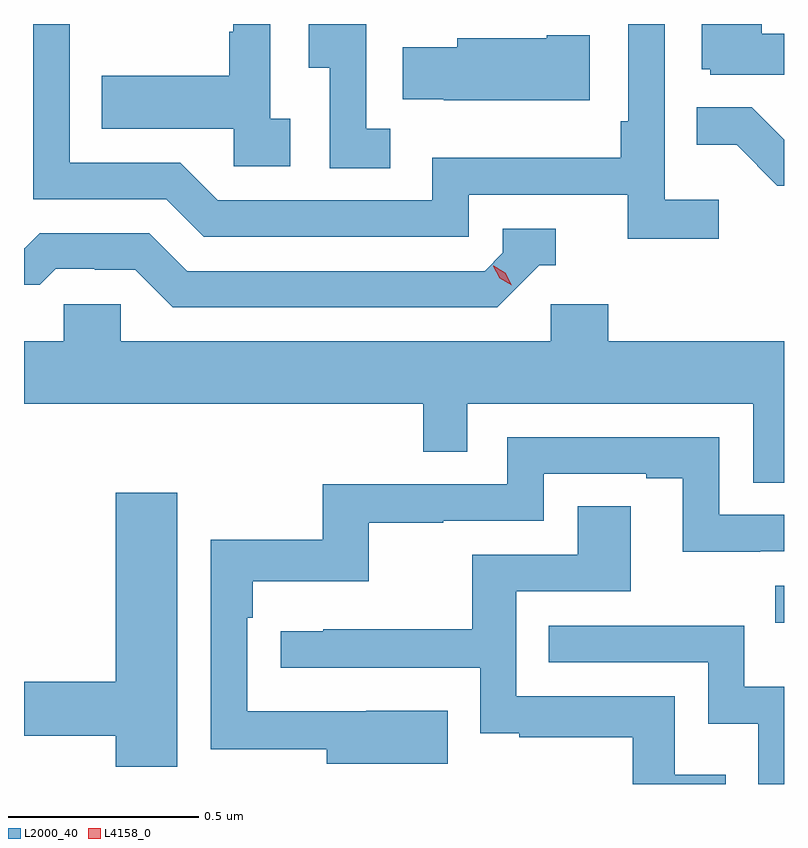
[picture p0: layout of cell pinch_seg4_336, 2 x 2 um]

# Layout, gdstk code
import gdstk
lib = gdstk.Library(unit=1e-6, precision=1e-09)
def R(c, l, rs):  # rectangles x0, y0, x1, y1
    for r in rs: c.add(gdstk.rectangle(r[:2], r[2:], *l))
def P(c, l, *ps):  # polygons
    for p in ps: c.add(gdstk.Polygon(p, *l))
L2000_40 = (2000, 40)
L4158_0 = (4158, 0)

pinch_seg4_336 = lib.new_cell('pinch_seg4_336')
R(pinch_seg4_336, L2000_40, [(1003.143,809.564,1003.166,809.661)])
P(pinch_seg4_336, L2000_40, [(1002.994,810.676),(1002.852,810.676),(1002.852,811.139),(1002.756,811.139),(1002.756,810.883),(1002.736,810.883),(1002.736,810.787),(1002.24,810.787),(1002.24,810.675),(1001.676,810.675),(1001.577,810.774),(1001.286,810.774),(1001.286,811.139),(1001.19,811.139),(1001.19,810.678),(1001.54,810.678),(1001.639,810.579),(1002.336,810.579),(1002.336,810.69),(1002.755,810.69),(1002.755,810.574),(1002.994,810.574)],
  [(1002.13,810.863),(1002.066,810.863),(1002.066,811.139),(1001.915,811.139),(1001.915,811.024),(1001.97,811.024),(1001.97,810.76),(1002.13,810.76)],
  [(1001.866,810.89),(1001.814,810.89),(1001.814,811.139),(1001.716,811.139),(1001.716,811.118),(1001.706,811.118),(1001.706,811.003),(1001.371,811.003),(1001.371,810.863),(1001.718,810.863),(1001.718,810.765),(1001.866,810.765)],
  [(1003.166,811.114),(1003.108,811.114),(1003.108,811.139),(1002.95,811.139),(1002.95,811.02),(1002.972,811.02),(1002.972,811.005),(1003.166,811.005)],
  [(1002.655,811.11),(1002.542,811.11),(1002.542,811.102),(1002.306,811.102),(1002.306,811.078),(1002.163,811.078),(1002.163,810.941),(1002.271,810.941),(1002.271,810.938),(1002.655,810.938)],
  [(1003.166,810.835),(1003.081,810.92),(1002.937,810.92),(1002.937,810.821),(1003.041,810.821),(1003.148,810.714),(1003.166,810.714)],
  [(1002.522,810.504),(1002.565,810.504),(1002.565,810.6),(1002.426,810.6),(1002.426,810.537),(1002.378,810.489),(1001.595,810.489),(1001.496,810.588),(1001.207,810.588),(1001.168,810.549),(1001.166,810.549),(1001.166,810.453),(1001.207,810.453),(1001.249,810.495),(1001.352,810.495),(1001.352,810.492),(1001.459,810.492),(1001.558,810.393),(1002.411,810.393)],
  [(1003.166,810.304),(1002.704,810.304),(1002.704,810.402),(1002.552,810.402),(1002.552,810.304),(1001.421,810.304),(1001.421,810.402),(1001.271,810.402),(1001.271,810.304),(1001.166,810.304),(1001.166,810.14),(1002.217,810.14),(1002.217,810.013),(1002.333,810.013),(1002.333,810.14),(1003.085,810.14),(1003.085,809.932),(1003.166,809.932)],
  [(1002.281,809.332),(1002.067,809.332),(1002.067,809.331),(1001.754,809.331),(1001.754,809.576),(1001.768,809.576),(1001.768,809.672),(1002.073,809.672),(1002.073,809.827),(1002.269,809.827),(1002.269,809.832),(1002.534,809.832),(1002.534,809.955),(1002.803,809.955),(1002.803,809.943),(1002.899,809.943),(1002.899,809.75),(1003.104,809.75),(1003.104,809.751),(1003.166,809.751),(1003.166,809.847),(1002.996,809.847),(1002.996,810.051),(1002.438,810.051),(1002.438,809.928),(1001.952,809.928),(1001.952,809.782),(1001.658,809.782),(1001.658,809.23),(1001.963,809.23),(1001.963,809.192),(1002.281,809.192)],
  [(1001.569,809.905),(1001.408,809.905),(1001.408,809.408),(1001.166,809.408),(1001.166,809.266),(1001.408,809.266),(1001.408,809.184),(1001.569,809.184)],
  [(1003.013,809.164),(1002.879,809.164),(1002.879,809.37),(1002.462,809.37),(1002.462,809.646),(1002.763,809.646),(1002.763,809.87),(1002.623,809.87),(1002.623,809.742),(1002.346,809.742),(1002.346,809.546),(1001.953,809.546),(1001.953,809.541),(1001.841,809.541),(1001.841,809.445),(1002.366,809.445),(1002.366,809.273),(1002.469,809.273),(1002.469,809.262),(1002.768,809.262),(1002.768,809.139),(1003.013,809.139)],
  [(1003.166,809.395),(1003.062,809.395),(1003.062,809.556),(1002.547,809.556),(1002.547,809.46),(1002.966,809.46),(1002.966,809.297),(1003.098,809.297),(1003.098,809.139),(1003.166,809.139)])
P(pinch_seg4_336, L4158_0, [(1002.449,810.451),(1002.418,810.47),(1002.401,810.502),(1002.401,810.503),(1002.402,810.503),(1002.433,810.484),(1002.449,810.451),(1002.449,810.451)])

lib.write_gds('pinch_seg4_336.gds')
